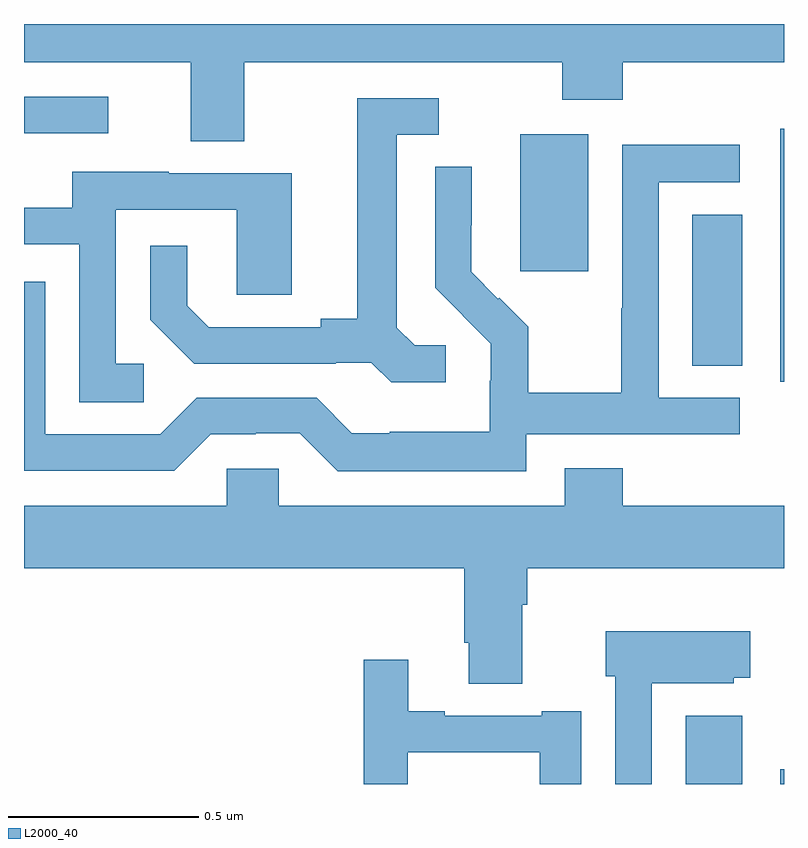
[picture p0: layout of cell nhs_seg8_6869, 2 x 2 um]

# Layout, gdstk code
import gdstk
lib = gdstk.Library(unit=1e-6, precision=1e-09)
def R(c, l, rs):  # rectangles x0, y0, x1, y1
    for r in rs: c.add(gdstk.rectangle(r[:2], r[2:], *l))
def P(c, l, *ps):  # polygons
    for p in ps: c.add(gdstk.Polygon(p, *l))
L2000_40 = (2000, 40)

nhs_seg8_6869 = lib.new_cell('nhs_seg8_6869')
R(nhs_seg8_6869, L2000_40, [(203.741,1147.9,203.89,1148.08), (203.99,1147.9,204,1147.939), (203.99,1148.958,204,1149.625), (203.759,1149.001,203.89,1149.398), (203.306,1149.249,203.485,1149.61), (202,1149.612,202.222,1149.708)])
P(nhs_seg8_6869, L2000_40, [(202.579,1149.8),(203.416,1149.8),(203.416,1149.701),(203.576,1149.701),(203.576,1149.8),(204,1149.8),(204,1149.9),(202,1149.9),(202,1149.8),(202.439,1149.8),(202.439,1149.592),(202.579,1149.592)],
  [(203.11,1149.054),(203.028,1149.054),(202.981,1149.101),(202.981,1149.609),(203.092,1149.609),(203.092,1149.705),(202.877,1149.705),(202.877,1149.125),(202.781,1149.125),(202.781,1149.102),(202.486,1149.102),(202.429,1149.159),(202.429,1149.316),(202.332,1149.316),(202.332,1149.122),(202.448,1149.006),(202.82,1149.006),(202.82,1149.009),(202.914,1149.009),(202.966,1148.957),(203.11,1148.957)],
  [(203.322,1148.82),(203.884,1148.82),(203.884,1148.916),(203.67,1148.916),(203.67,1149.483),(203.884,1149.483),(203.884,1149.582),(203.574,1149.582),(203.574,1149.152),(203.572,1149.152),(203.572,1148.929),(203.327,1148.929),(203.327,1149.103),(203.25,1149.18),(203.247,1149.177),(203.177,1149.248),(203.177,1149.37),(203.178,1149.37),(203.178,1149.524),(203.082,1149.524),(203.082,1149.206),(203.155,1149.133),(203.154,1149.132),(203.228,1149.058),(203.228,1148.961),(203.226,1148.961),(203.226,1148.827),(202.963,1148.827),(202.963,1148.823),(202.863,1148.823),(202.77,1148.916),(202.455,1148.916),(202.359,1148.82),(202.056,1148.82),(202.056,1149.222),(202,1149.222),(202,1148.724),(202.395,1148.724),(202.491,1148.82),(202.61,1148.82),(202.61,1148.823),(202.725,1148.823),(202.825,1148.723),(203.322,1148.723)],
  [(202.315,1149.006),(202.242,1149.006),(202.242,1149.411),(202.56,1149.411),(202.56,1149.187),(202.705,1149.187),(202.705,1149.507),(202.381,1149.507),(202.381,1149.511),(202.127,1149.511),(202.127,1149.417),(202,1149.417),(202,1149.321),(202.146,1149.321),(202.146,1148.905),(202.315,1148.905)],
  [(203.311,1148.372),(203.324,1148.372),(203.324,1148.468),(204,1148.468),(204,1148.632),(203.576,1148.632),(203.576,1148.731),(203.423,1148.731),(203.423,1148.632),(202.671,1148.632),(202.671,1148.73),(202.533,1148.73),(202.533,1148.632),(202,1148.632),(202,1148.468),(203.159,1148.468),(203.159,1148.272),(203.171,1148.272),(203.171,1148.164),(203.311,1148.164)],
  [(203.652,1148.165),(203.868,1148.165),(203.868,1148.18),(203.911,1148.18),(203.911,1148.302),(203.531,1148.302),(203.531,1148.184),(203.556,1148.184),(203.556,1147.9),(203.652,1147.9)],
  [(203.01,1147.983),(203.357,1147.983),(203.357,1147.9),(203.467,1147.9),(203.467,1148.092),(203.363,1148.092),(203.363,1148.079),(203.107,1148.079),(203.107,1148.092),(203.011,1148.092),(203.011,1148.227),(202.894,1148.227),(202.894,1147.9),(203.01,1147.9)])

lib.write_gds('nhs_seg8_6869.gds')
